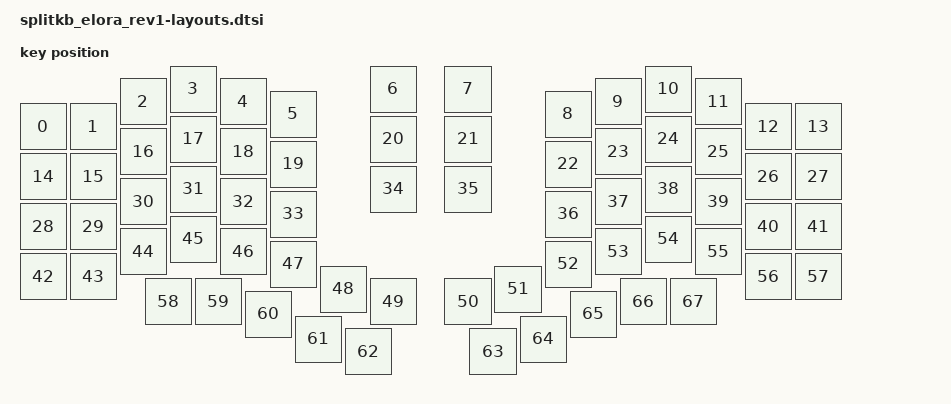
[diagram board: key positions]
/*
 * Copyright (c) 2026 The ZMK Contributors
 *
 * SPDX-License-Identifier: MIT
 *
 * Generated from the QMK splitkb/elora LAYOUT (keyboards/splitkb/elora/info.json).
 */

#include <physical_layouts.dtsi>

/ {
    splitkb_elora_rev1_layout: splitkb_elora_rev1_layout {
        compatible = "zmk,physical-layout";
        display-name = "Elora";

        transform = <&default_transform>;

        keys  //                     w   h    x    y     rot    rx    ry
            = <&key_physical_attrs 100 100    0   75       0     0     0>  // MX101
            , <&key_physical_attrs 100 100  100   75       0     0     0>  // MX105
            , <&key_physical_attrs 100 100  200   25       0     0     0>  // MX109
            , <&key_physical_attrs 100 100  300    0       0     0     0>  // MX113
            , <&key_physical_attrs 100 100  400   25       0     0     0>  // MX117
            , <&key_physical_attrs 100 100  500   50       0     0     0>  // MX121
            , <&key_physical_attrs 100 100  700    0       0     0     0>  // LPED1
            , <&key_physical_attrs 100 100  850    0       0     0     0>  // RPED1
            , <&key_physical_attrs 100 100 1050   50       0     0     0>  // MX221
            , <&key_physical_attrs 100 100 1150   25       0     0     0>  // MX217
            , <&key_physical_attrs 100 100 1250    0       0     0     0>  // MX213
            , <&key_physical_attrs 100 100 1350   25       0     0     0>  // MX209
            , <&key_physical_attrs 100 100 1450   75       0     0     0>  // MX205
            , <&key_physical_attrs 100 100 1550   75       0     0     0>  // MX201
            , <&key_physical_attrs 100 100    0  175       0     0     0>  // MX102
            , <&key_physical_attrs 100 100  100  175       0     0     0>  // MX106
            , <&key_physical_attrs 100 100  200  125       0     0     0>  // MX110
            , <&key_physical_attrs 100 100  300  100       0     0     0>  // MX114
            , <&key_physical_attrs 100 100  400  125       0     0     0>  // MX118
            , <&key_physical_attrs 100 100  500  150       0     0     0>  // MX122
            , <&key_physical_attrs 100 100  700  100       0     0     0>  // LPED2
            , <&key_physical_attrs 100 100  850  100       0     0     0>  // RPED2
            , <&key_physical_attrs 100 100 1050  150       0     0     0>  // MX222
            , <&key_physical_attrs 100 100 1150  125       0     0     0>  // MX218
            , <&key_physical_attrs 100 100 1250  100       0     0     0>  // MX214
            , <&key_physical_attrs 100 100 1350  125       0     0     0>  // MX210
            , <&key_physical_attrs 100 100 1450  175       0     0     0>  // MX206
            , <&key_physical_attrs 100 100 1550  175       0     0     0>  // MX202
            , <&key_physical_attrs 100 100    0  275       0     0     0>  // MX103
            , <&key_physical_attrs 100 100  100  275       0     0     0>  // MX107
            , <&key_physical_attrs 100 100  200  225       0     0     0>  // MX111
            , <&key_physical_attrs 100 100  300  200       0     0     0>  // MX115
            , <&key_physical_attrs 100 100  400  225       0     0     0>  // MX119
            , <&key_physical_attrs 100 100  500  250       0     0     0>  // MX123
            , <&key_physical_attrs 100 100  700  200       0     0     0>  // LPED3
            , <&key_physical_attrs 100 100  850  200       0     0     0>  // RPED3
            , <&key_physical_attrs 100 100 1050  250       0     0     0>  // MX223
            , <&key_physical_attrs 100 100 1150  225       0     0     0>  // MX219
            , <&key_physical_attrs 100 100 1250  200       0     0     0>  // MX215
            , <&key_physical_attrs 100 100 1350  225       0     0     0>  // MX211
            , <&key_physical_attrs 100 100 1450  275       0     0     0>  // MX207
            , <&key_physical_attrs 100 100 1550  275       0     0     0>  // MX203
            , <&key_physical_attrs 100 100    0  375       0     0     0>  // MX104
            , <&key_physical_attrs 100 100  100  375       0     0     0>  // MX108
            , <&key_physical_attrs 100 100  200  325       0     0     0>  // MX112
            , <&key_physical_attrs 100 100  300  300       0     0     0>  // MX116
            , <&key_physical_attrs 100 100  400  325       0     0     0>  // MX120
            , <&key_physical_attrs 100 100  500  350       0     0     0>  // MX124
            , <&key_physical_attrs 100 100  600  400       0     0     0>  // MX131
            , <&key_physical_attrs 100 100  700  425       0     0     0>  // MX130
            , <&key_physical_attrs 100 100  850  425       0     0     0>  // MX230
            , <&key_physical_attrs 100 100  950  400       0     0     0>  // MX231
            , <&key_physical_attrs 100 100 1050  350       0     0     0>  // MX224
            , <&key_physical_attrs 100 100 1150  325       0     0     0>  // MX220
            , <&key_physical_attrs 100 100 1250  300       0     0     0>  // MX216
            , <&key_physical_attrs 100 100 1350  325       0     0     0>  // MX212
            , <&key_physical_attrs 100 100 1450  375       0     0     0>  // MX208
            , <&key_physical_attrs 100 100 1550  375       0     0     0>  // MX204
            , <&key_physical_attrs 100 100  250  425       0     0     0>  // MX125
            , <&key_physical_attrs 100 100  350  425       0     0     0>  // MX126
            , <&key_physical_attrs 100 100  450  450       0     0     0>  // MX127
            , <&key_physical_attrs 100 100  550  500       0     0     0>  // MX128
            , <&key_physical_attrs 100 100  650  525       0     0     0>  // MX129
            , <&key_physical_attrs 100 100  900  525       0     0     0>  // MX229
            , <&key_physical_attrs 100 100 1000  500       0     0     0>  // MX228
            , <&key_physical_attrs 100 100 1100  450       0     0     0>  // MX227
            , <&key_physical_attrs 100 100 1200  425       0     0     0>  // MX226
            , <&key_physical_attrs 100 100 1300  425       0     0     0>  // MX225
            ;
    };
};
